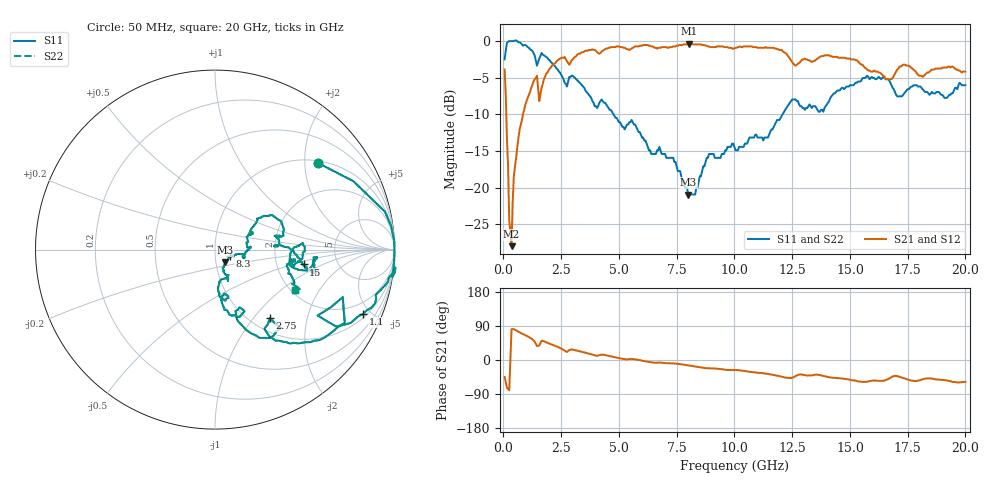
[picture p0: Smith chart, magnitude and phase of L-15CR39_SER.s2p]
# MHZ S MA R 50
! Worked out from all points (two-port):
!   400 points, 50 MHz to 20 GHz, reference 50 ohm
!   highest |S21| = -0.35 dB at 8.05 GHz (marker M1); lowest = -28.0 dB at 350 MHz (marker M2)
!   |S21| within 3 dB of the highest: 2.099 GHz to 15.58 GHz (13.48 GHz wide, 152 % of centre); 17.25 GHz to 17.55 GHz (303.7 MHz wide, 1.75 % of centre)
!   lowest |S11| = -20.9 dB at 8 GHz (marker M3), VSWR 1.20, Z = 55.4 - j7.85 ohm
!   |S11| at or under -10 dB: 4.769 GHz to 12.08 GHz (7.313 GHz wide, 86.8 % of centre)
!   |S22| runs from -20.9 to 0.1 dB; largest |S21 - S12| = 0
!   S11 on the Smith chart (normalised r, x): 50 MHz: 1.06, +2.33; 1.1 GHz: 1.19, -4.51; 2.75 GHz: 1.21, -1.22; 8.3 GHz: 1.17, -0.09; 15 GHz: 2.84, -0.63; 20 GHz: 2.12, -1.26
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50  0.75 40.0  0.64 -44.9  0.64 -44.9  0.75 40.0
150  0.97 12.6  0.22 -72.6  0.22 -72.6  0.97 12.6
250  1 2.5  0.06 -79.9  0.06 -79.9  1 2.5
350  1 -3.4  0.04 81.4  0.04 81.4  1 -3.4
450  1 -8.8  0.12 81.4  0.12 81.4  1 -8.8
1100  0.9 -23.5  0.43 60.5  0.43 60.5  0.9 -23.5
1450  0.68 -32.7  0.58 36.9  0.58 36.9  0.68 -32.7
1650  0.83 -29.4  0.48 50.9  0.48 50.9  0.83 -29.4
2750  0.49 -51.4  0.73 21.1  0.73 21.1  0.49 -51.4
3400  0.5 -67.2  0.84 21.4  0.84 21.4  0.5 -67.2
6700  0.18 -66.9  0.9 -7.0  0.9 -7.0  0.18 -66.9
8000  0.09 -51.4  0.95 -14.2  0.95 -14.2  0.09 -51.4
8050  0.09 -45.0  0.96 -14.7  0.96 -14.7  0.09 -45.0
8300  0.09 -24.5  0.95 -17.0  0.95 -17.0  0.09 -24.5
8900  0.17 -12.7  0.92 -21.9  0.92 -21.9  0.17 -12.7
10050  0.18 3.4  0.9 -26.4  0.9 -26.4  0.18 3.4
12050  0.31 35.0  0.87 -43.9  0.87 -43.9  0.31 35.0
13350  0.35 11.4  0.72 -40.6  0.72 -40.6  0.35 11.4
15000  0.5 -9.5  0.76 -52.1  0.76 -52.1  0.5 -9.5
16700  0.54 -11.2  0.55 -48.8  0.55 -48.8  0.54 -11.2
17650  0.49 4.3  0.66 -54.3  0.66 -54.3  0.49 4.3
20000  0.5 -26.4  0.62 -57.7  0.62 -57.7  0.5 -26.4
